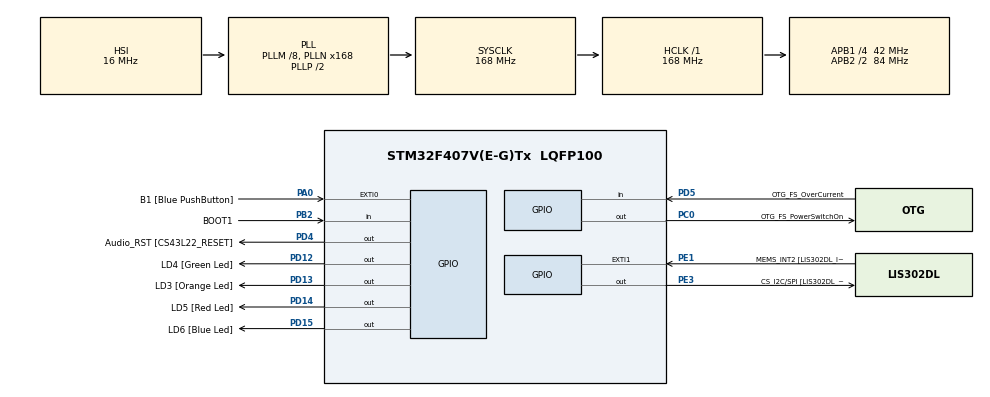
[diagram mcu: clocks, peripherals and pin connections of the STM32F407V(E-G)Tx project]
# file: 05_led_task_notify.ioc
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Mcu.Family=STM32F4
Mcu.Name=STM32F407V(E-G)Tx
Mcu.Package=LQFP100
NVIC.PriorityGroup=NVIC_PRIORITYGROUP_4
NVIC.TIM6_DAC_IRQn=true\:0\:0\:false\:false\:true\:false\:true\:true
NVIC.TimeBase=TIM6_DAC_IRQn
NVIC.TimeBaseIP=TIM6
PA0-WKUP.GPIO_Label=B1 [Blue PushButton]
PA0-WKUP.Signal=GPXTI0
PA10.GPIO_Label=OTG_FS_ID
PA10.GPIO_Mode=GPIO_MODE_AF_PP
PA10.GPIO_PuPd=GPIO_NOPULL
PA10.GPIO_Speed=GPIO_SPEED_FREQ_LOW
PA10.Signal=USB_OTG_FS_ID
PA11.GPIO_Label=OTG_FS_DM
PA11.GPIO_Mode=GPIO_MODE_AF_PP
PA11.GPIO_PuPd=GPIO_NOPULL
PA11.GPIO_Speed=GPIO_SPEED_FREQ_LOW
PA11.Signal=USB_OTG_FS_DM
PA12.GPIO_Label=OTG_FS_DP
PA12.GPIO_Mode=GPIO_MODE_AF_PP
PA12.GPIO_PuPd=GPIO_NOPULL
PA12.GPIO_Speed=GPIO_SPEED_FREQ_LOW
PA12.Signal=USB_OTG_FS_DP
PA13.GPIO_Label=SWDIO
PA13.Signal=SYS_JTMS-SWDIO
PA14.GPIO_Label=SWCLK
PA14.Signal=SYS_JTCK-SWCLK
PA4.GPIO_Label=I2S3_WS [CS43L22_LRCK]
PA4.GPIO_Mode=GPIO_MODE_AF_PP
PA4.GPIO_PuPd=GPIO_NOPULL
PA4.GPIO_Speed=GPIO_SPEED_FREQ_LOW
PA4.Signal=I2S3_WS
PA5.GPIO_Label=SPI1_SCK [LIS302DL_SCL/SPC]
PA5.GPIO_Mode=GPIO_MODE_AF_PP
PA5.GPIO_PuPd=GPIO_NOPULL
PA5.GPIO_Speed=GPIO_SPEED_FREQ_LOW
PA5.Signal=SPI1_SCK
PA6.GPIO_Label=SPI1_MISO [LIS302DL_SDO]
PA6.GPIO_Mode=GPIO_MODE_AF_PP
PA6.GPIO_PuPd=GPIO_NOPULL
PA6.GPIO_Speed=GPIO_SPEED_FREQ_LOW
PA6.Signal=SPI1_MISO
PA7.GPIO_Label=SPI1_MOSI [LIS302DL_SDA/SDI/SDO]
PA7.GPIO_Mode=GPIO_MODE_AF_PP
PA7.GPIO_PuPd=GPIO_NOPULL
PA7.GPIO_Speed=GPIO_SPEED_FREQ_LOW
PA7.Signal=SPI1_MOSI
PA9.GPIO_Label=VBUS_FS
PA9.GPIO_Mode=GPIO_MODE_INPUT
PA9.GPIO_PuPd=GPIO_NOPULL
PA9.Signal=USB_OTG_FS_VBUS
PB10.GPIO_Label=CLK_IN [MP45DT02_CLK]
PB10.GPIO_Mode=GPIO_MODE_AF_PP
PB10.GPIO_PuPd=GPIO_NOPULL
PB10.GPIO_Speed=GPIO_SPEED_FREQ_LOW
PB10.Signal=I2S2_CK
PB2.GPIO_Label=BOOT1
PB2.GPIO_Mode=GPIO_MODE_INPUT
PB2.GPIO_PuPd=GPIO_NOPULL
PB2.Signal=GPIO_Input
PB3.GPIO_Label=SWO
PB3.Signal=SYS_JTDO-SWO
PB6.GPIO_Label=Audio_SCL [CS43L22_SCL]
PB6.GPIO_Mode=GPIO_MODE_AF_OD
PB6.GPIO_PuPd=GPIO_NOPULL
PB6.GPIO_Speed=GPIO_SPEED_FREQ_LOW
PB6.Signal=I2C1_SCL
PB9.GPIO_Label=Audio_SDA [CS43L22_SDA]
PB9.GPIO_Mode=GPIO_MODE_AF_OD
PB9.GPIO_PuPd=GPIO_NOPULL
PB9.GPIO_Speed=GPIO_SPEED_FREQ_LOW
PB9.Signal=I2C1_SDA
PC0.GPIO_Label=OTG_FS_PowerSwitchOn
PC0.GPIO_PuPd=GPIO_NOPULL
PC0.GPIO_Speed=GPIO_SPEED_FREQ_LOW
PC0.PinState=GPIO_PIN_SET
PC0.Signal=GPIO_Output
PC10.GPIO_Label=I2S3_SCK [CS43L22_SCLK]
PC10.GPIO_Mode=GPIO_MODE_AF_PP
PC10.GPIO_PuPd=GPIO_NOPULL
PC10.GPIO_Speed=GPIO_SPEED_FREQ_LOW
PC10.Signal=I2S3_CK
PC12.GPIO_Label=I2S3_SD [CS43L22_SDIN]
PC12.GPIO_Mode=GPIO_MODE_AF_PP
PC12.GPIO_PuPd=GPIO_NOPULL
PC12.GPIO_Speed=GPIO_SPEED_FREQ_LOW
PC12.Signal=I2S3_SD
PC14-OSC32_IN.GPIO_Label=PC14-OSC32_IN
PC14-OSC32_IN.Signal=RCC_OSC32_IN
PC15-OSC32_OUT.GPIO_Label=PC15-OSC32_OUT
PC15-OSC32_OUT.Signal=RCC_OSC32_OUT
PC3.GPIO_Label=PDM_OUT [MP45DT02_DOUT]
PC3.GPIO_Mode=GPIO_MODE_AF_PP
PC3.GPIO_PuPd=GPIO_NOPULL
PC3.GPIO_Speed=GPIO_SPEED_FREQ_LOW
PC3.Signal=I2S2_SD
PC7.GPIO_Label=I2S3_MCK [CS43L22_MCLK]
PC7.GPIO_Mode=GPIO_MODE_AF_PP
PC7.GPIO_PuPd=GPIO_NOPULL
PC7.GPIO_Speed=GPIO_SPEED_FREQ_LOW
PC7.Signal=I2S3_MCK
PD12.GPIO_Label=LD4 [Green Led]
PD12.GPIO_PuPd=GPIO_NOPULL
PD12.GPIO_Speed=GPIO_SPEED_FREQ_LOW
PD12.Signal=GPIO_Output
PD13.GPIO_Label=LD3 [Orange Led]
PD13.GPIO_PuPd=GPIO_NOPULL
PD13.GPIO_Speed=GPIO_SPEED_FREQ_LOW
PD13.Signal=GPIO_Output
PD14.GPIO_Label=LD5 [Red Led]
PD14.GPIO_PuPd=GPIO_NOPULL
PD14.GPIO_Speed=GPIO_SPEED_FREQ_LOW
PD14.Signal=GPIO_Output
PD15.GPIO_Label=LD6 [Blue Led]
PD15.GPIO_PuPd=GPIO_NOPULL
PD15.GPIO_Speed=GPIO_SPEED_FREQ_LOW
PD15.Signal=GPIO_Output
PD4.GPIO_Label=Audio_RST [CS43L22_RESET]
PD4.GPIO_PuPd=GPIO_NOPULL
PD4.GPIO_Speed=GPIO_SPEED_FREQ_LOW
PD4.Signal=GPIO_Output
PD5.GPIO_Label=OTG_FS_OverCurrent
PD5.GPIO_Mode=GPIO_MODE_INPUT
PD5.GPIO_PuPd=GPIO_NOPULL
PD5.Signal=GPIO_Input
PE1.GPIO_Label=MEMS_INT2 [LIS302DL_INT2]
PE1.GPIO_ModeDefaultEXTI=GPIO_MODE_EVT_RISING
PE1.GPIO_PuPd=GPIO_NOPULL
PE1.Signal=GPXTI1
PE3.GPIO_Label=CS_I2C/SPI [LIS302DL_CS_I2C/SPI]
PE3.GPIO_PuPd=GPIO_NOPULL
PE3.GPIO_Speed=GPIO_SPEED_FREQ_LOW
PE3.Signal=GPIO_Output
PH0-OSC_IN.GPIO_Label=PH0-OSC_IN
PH0-OSC_IN.Signal=RCC_OSC_IN
PH1-OSC_OUT.GPIO_Label=PH1-OSC_OUT
PH1-OSC_OUT.Signal=RCC_OSC_OUT
ProjectManager.HeapSize=0x200
ProjectManager.StackSize=0x400
ProjectManager.TargetToolchain=STM32CubeIDE
RCC.48MHZClocksFreq_Value=48000000
RCC.AHBFreq_Value=168000000
RCC.APB1CLKDivider=RCC_HCLK_DIV4
RCC.APB1Freq_Value=42000000
RCC.APB1TimFreq_Value=84000000
RCC.APB2CLKDivider=RCC_HCLK_DIV2
RCC.APB2Freq_Value=84000000
RCC.APB2TimFreq_Value=168000000
RCC.CortexFreq_Value=168000000
RCC.HCLKFreq_Value=168000000
RCC.HSE_VALUE=8000000
RCC.HSI_VALUE=16000000
RCC.LSE_VALUE=32768
RCC.PLLM=8
RCC.PLLN=168
RCC.PLLQ=7
RCC.SYSCLKFreq_VALUE=168000000
RCC.SYSCLKSource=RCC_SYSCLKSOURCE_PLLCLK
RCC.VCOOutputFreq_Value=336000000
VP_SYS_VS_tim6.Mode=TIM6
board=STM32F407G-DISC1

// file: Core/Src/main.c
/* USER CODE BEGIN Header */
/**
  ******************************************************************************
  * @file           : main.c
  * @brief          : Main program body
  ******************************************************************************
  * @attention
  *
  * Copyright (c) 2024 STMicroelectronics.
  * All rights reserved.
  *
  * This software is licensed under terms that can be found in the LICENSE file
  * in the root directory of this software component.
  * If no LICENSE file comes with this software, it is provided AS-IS.
  *
  ******************************************************************************
  */
/* USER CODE END Header */
#include "main.h"

/* USER CODE BEGIN Includes */
#include "FreeRTOS.h"
#include "task.h"
/* USER CODE END Includes */

/* USER CODE BEGIN PD */
#define DWT_CTRL             (*(volatile uint32_t*)0xE0001000)
/* USER CODE END PD */

void SystemClock_Config(void);
static void MX_GPIO_Init(void);
/* USER CODE BEGIN PFP */

static void led_green_handler(void* parameters);
static void led_orange_handler(void* parameters);
static void led_red_handler(void* parameters);
static void button_handler(void* parameters);

extern void SEGGER_UART_init(uint32_t);

// needs task handles to delete a task
TaskHandle_t ledg_task_handle;
TaskHandle_t ledo_task_handle;
TaskHandle_t ledr_task_handle;
TaskHandle_t button_task_handle;

TaskHandle_t volatile next_task_handle = NULL;
/* USER CODE END PFP */

int main(void)
{
  /* USER CODE BEGIN 1 */
  BaseType_t status;
  /* USER CODE END 1 */

  /* MCU Configuration--------------------------------------------------------*/

  /* Reset of all peripherals, Initializes the Flash interface and the Systick. */
  HAL_Init();

  /* Configure the system clock */
  SystemClock_Config();

  /* Initialize all configured peripherals */
  MX_GPIO_Init();
  /* USER CODE BEGIN 2 */

  SEGGER_UART_init(250000);

  // Enable the CYCCNT counter register - For SystemView timestamp
  // Cortex-M4 Technical Reference Manual page: 91
  DWT_CTRL |= (1 << 0);

  SEGGER_SYSVIEW_Conf();

  status = xTaskCreate(led_green_handler, "LED green task", 200, NULL, 3, &ledg_task_handle);
  configASSERT(status==pdPASS);

  next_task_handle = ledg_task_handle;

  status = xTaskCreate(led_orange_handler, "LED orange task", 200, NULL, 2, &ledo_task_handle);
  configASSERT(status==pdPASS);

  status = xTaskCreate(led_red_handler, "LED red task", 200, NULL, 1, &ledr_task_handle);
  configASSERT(status==pdPASS);

  status = xTaskCreate(button_handler, "Button task", 200, NULL, 4, &button_task_handle);
  configASSERT(status==pdPASS);

  vTaskStartScheduler();

  /* USER CODE END 2 */

  /* Infinite loop */
  while (1)
  {

  }
}

void SystemClock_Config(void)
{
  RCC_OscInitTypeDef RCC_OscInitStruct = {0};
  RCC_ClkInitTypeDef RCC_ClkInitStruct = {0};

  /** Configure the main internal regulator output voltage
  */
  __HAL_RCC_PWR_CLK_ENABLE();
  __HAL_PWR_VOLTAGESCALING_CONFIG(PWR_REGULATOR_VOLTAGE_SCALE1);

  /** Initializes the RCC Oscillators according to the specified parameters
  * in the RCC_OscInitTypeDef structure.
  */
  RCC_OscInitStruct.OscillatorType = RCC_OSCILLATORTYPE_HSI;
  RCC_OscInitStruct.HSIState = RCC_HSI_ON;
  RCC_OscInitStruct.HSICalibrationValue = RCC_HSICALIBRATION_DEFAULT;
  RCC_OscInitStruct.PLL.PLLState = RCC_PLL_ON;
  RCC_OscInitStruct.PLL.PLLSource = RCC_PLLSOURCE_HSI;
  RCC_OscInitStruct.PLL.PLLM = 8;
  RCC_OscInitStruct.PLL.PLLN = 168;
  RCC_OscInitStruct.PLL.PLLP = RCC_PLLP_DIV2;
  RCC_OscInitStruct.PLL.PLLQ = 7;
  if (HAL_RCC_OscConfig(&RCC_OscInitStruct) != HAL_OK)
  {
    Error_Handler();
  }

  /** Initializes the CPU, AHB and APB buses clocks
  */
  RCC_ClkInitStruct.ClockType = RCC_CLOCKTYPE_HCLK|RCC_CLOCKTYPE_SYSCLK
                              |RCC_CLOCKTYPE_PCLK1|RCC_CLOCKTYPE_PCLK2;
  RCC_ClkInitStruct.SYSCLKSource = RCC_SYSCLKSOURCE_PLLCLK;
  RCC_ClkInitStruct.AHBCLKDivider = RCC_SYSCLK_DIV1;
  RCC_ClkInitStruct.APB1CLKDivider = RCC_HCLK_DIV4;
  RCC_ClkInitStruct.APB2CLKDivider = RCC_HCLK_DIV2;

  if (HAL_RCC_ClockConfig(&RCC_ClkInitStruct, FLASH_LATENCY_5) != HAL_OK)
  {
    Error_Handler();
  }
}

static void MX_GPIO_Init(void)
{
  GPIO_InitTypeDef GPIO_InitStruct = {0};

  /* GPIO Ports Clock Enable */
  __HAL_RCC_GPIOE_CLK_ENABLE();
  __HAL_RCC_GPIOC_CLK_ENABLE();
  __HAL_RCC_GPIOH_CLK_ENABLE();
  __HAL_RCC_GPIOA_CLK_ENABLE();
  __HAL_RCC_GPIOB_CLK_ENABLE();
  __HAL_RCC_GPIOD_CLK_ENABLE();

  /*Configure GPIO pin Output Level */
  HAL_GPIO_WritePin(CS_I2C_SPI_GPIO_Port, CS_I2C_SPI_Pin, GPIO_PIN_RESET);

  /*Configure GPIO pin Output Level */
  HAL_GPIO_WritePin(OTG_FS_PowerSwitchOn_GPIO_Port, OTG_FS_PowerSwitchOn_Pin, GPIO_PIN_SET);

  /*Configure GPIO pin Output Level */
  HAL_GPIO_WritePin(GPIOD, LD4_Pin|LD3_Pin|LD5_Pin|LD6_Pin
                          |Audio_RST_Pin, GPIO_PIN_RESET);

  /*Configure GPIO pin : CS_I2C_SPI_Pin */
  GPIO_InitStruct.Pin = CS_I2C_SPI_Pin;
  GPIO_InitStruct.Mode = GPIO_MODE_OUTPUT_PP;
  GPIO_InitStruct.Pull = GPIO_NOPULL;
  GPIO_InitStruct.Speed = GPIO_SPEED_FREQ_LOW;
  HAL_GPIO_Init(CS_I2C_SPI_GPIO_Port, &GPIO_InitStruct);

  /*Configure GPIO pin : OTG_FS_PowerSwitchOn_Pin */
  GPIO_InitStruct.Pin = OTG_FS_PowerSwitchOn_Pin;
  GPIO_InitStruct.Mode = GPIO_MODE_OUTPUT_PP;
  GPIO_InitStruct.Pull = GPIO_NOPULL;
  GPIO_InitStruct.Speed = GPIO_SPEED_FREQ_LOW;
  HAL_GPIO_Init(OTG_FS_PowerSwitchOn_GPIO_Port, &GPIO_InitStruct);

  /*Configure GPIO pin : PDM_OUT_Pin */
  GPIO_InitStruct.Pin = PDM_OUT_Pin;
  GPIO_InitStruct.Mode = GPIO_MODE_AF_PP;
  GPIO_InitStruct.Pull = GPIO_NOPULL;
  GPIO_InitStruct.Speed = GPIO_SPEED_FREQ_LOW;
  GPIO_InitStruct.Alternate = GPIO_AF5_SPI2;
  HAL_GPIO_Init(PDM_OUT_GPIO_Port, &GPIO_InitStruct);

  /*Configure GPIO pin : B1_Pin */
  GPIO_InitStruct.Pin = B1_Pin;
  GPIO_InitStruct.Mode = GPIO_MODE_IT_FALLING;
  GPIO_InitStruct.Pull = GPIO_NOPULL;
  HAL_GPIO_Init(B1_GPIO_Port, &GPIO_InitStruct);

  /*Configure GPIO pin : I2S3_WS_Pin */
  GPIO_InitStruct.Pin = I2S3_WS_Pin;
  GPIO_InitStruct.Mode = GPIO_MODE_AF_PP;
  GPIO_InitStruct.Pull = GPIO_NOPULL;
  GPIO_InitStruct.Speed = GPIO_SPEED_FREQ_LOW;
  GPIO_InitStruct.Alternate = GPIO_AF6_SPI3;
  HAL_GPIO_Init(I2S3_WS_GPIO_Port, &GPIO_InitStruct);

  /*Configure GPIO pins : SPI1_SCK_Pin SPI1_MISO_Pin SPI1_MOSI_Pin */
  GPIO_InitStruct.Pin = SPI1_SCK_Pin|SPI1_MISO_Pin|SPI1_MOSI_Pin;
  GPIO_InitStruct.Mode = GPIO_MODE_AF_PP;
  GPIO_InitStruct.Pull = GPIO_NOPULL;
  GPIO_InitStruct.Speed = GPIO_SPEED_FREQ_LOW;
  GPIO_InitStruct.Alternate = GPIO_AF5_SPI1;
  HAL_GPIO_Init(GPIOA, &GPIO_InitStruct);

  /*Configure GPIO pin : BOOT1_Pin */
  GPIO_InitStruct.Pin = BOOT1_Pin;
  GPIO_InitStruct.Mode = GPIO_MODE_INPUT;
  GPIO_InitStruct.Pull = GPIO_NOPULL;
  HAL_GPIO_Init(BOOT1_GPIO_Port, &GPIO_InitStruct);

  /*Configure GPIO pin : CLK_IN_Pin */
  GPIO_InitStruct.Pin = CLK_IN_Pin;
  GPIO_InitStruct.Mode = GPIO_MODE_AF_PP;
  GPIO_InitStruct.Pull = GPIO_NOPULL;
  GPIO_InitStruct.Speed = GPIO_SPEED_FREQ_LOW;
  GPIO_InitStruct.Alternate = GPIO_AF5_SPI2;
  HAL_GPIO_Init(CLK_IN_GPIO_Port, &GPIO_InitStruct);

  /*Configure GPIO pins : LD4_Pin LD3_Pin LD5_Pin LD6_Pin
                           Audio_RST_Pin */
  GPIO_InitStruct.Pin = LD4_Pin|LD3_Pin|LD5_Pin|LD6_Pin
                          |Audio_RST_Pin;
  GPIO_InitStruct.Mode = GPIO_MODE_OUTPUT_PP;
  GPIO_InitStruct.Pull = GPIO_NOPULL;
  GPIO_InitStruct.Speed = GPIO_SPEED_FREQ_LOW;
  HAL_GPIO_Init(GPIOD, &GPIO_InitStruct);

  /*Configure GPIO pins : I2S3_MCK_Pin I2S3_SCK_Pin I2S3_SD_Pin */
  GPIO_InitStruct.Pin = I2S3_MCK_Pin|I2S3_SCK_Pin|I2S3_SD_Pin;
  GPIO_InitStruct.Mode = GPIO_MODE_AF_PP;
  GPIO_InitStruct.Pull = GPIO_NOPULL;
  GPIO_InitStruct.Speed = GPIO_SPEED_FREQ_LOW;
  GPIO_InitStruct.Alternate = GPIO_AF6_SPI3;
  HAL_GPIO_Init(GPIOC, &GPIO_InitStruct);

  /*Configure GPIO pin : VBUS_FS_Pin */
  GPIO_InitStruct.Pin = VBUS_FS_Pin;
  GPIO_InitStruct.Mode = GPIO_MODE_INPUT;
  GPIO_InitStruct.Pull = GPIO_NOPULL;
  HAL_GPIO_Init(VBUS_FS_GPIO_Port, &GPIO_InitStruct);

  /*Configure GPIO pins : OTG_FS_ID_Pin OTG_FS_DM_Pin OTG_FS_DP_Pin */
  GPIO_InitStruct.Pin = OTG_FS_ID_Pin|OTG_FS_DM_Pin|OTG_FS_DP_Pin;
  GPIO_InitStruct.Mode = GPIO_MODE_AF_PP;
  GPIO_InitStruct.Pull = GPIO_NOPULL;
  GPIO_InitStruct.Speed = GPIO_SPEED_FREQ_LOW;
  GPIO_InitStruct.Alternate = GPIO_AF10_OTG_FS;
  HAL_GPIO_Init(GPIOA, &GPIO_InitStruct);

  /*Configure GPIO pin : OTG_FS_OverCurrent_Pin */
  GPIO_InitStruct.Pin = OTG_FS_OverCurrent_Pin;
  GPIO_InitStruct.Mode = GPIO_MODE_INPUT;
  GPIO_InitStruct.Pull = GPIO_NOPULL;
  HAL_GPIO_Init(OTG_FS_OverCurrent_GPIO_Port, &GPIO_InitStruct);

  /*Configure GPIO pins : Audio_SCL_Pin Audio_SDA_Pin */
  GPIO_InitStruct.Pin = Audio_SCL_Pin|Audio_SDA_Pin;
  GPIO_InitStruct.Mode = GPIO_MODE_AF_OD;
  GPIO_InitStruct.Pull = GPIO_NOPULL;
  GPIO_InitStruct.Speed = GPIO_SPEED_FREQ_LOW;
  GPIO_InitStruct.Alternate = GPIO_AF4_I2C1;
  HAL_GPIO_Init(GPIOB, &GPIO_InitStruct);

  /*Configure GPIO pin : MEMS_INT2_Pin */
  GPIO_InitStruct.Pin = MEMS_INT2_Pin;
  GPIO_InitStruct.Mode = GPIO_MODE_EVT_RISING;
  GPIO_InitStruct.Pull = GPIO_NOPULL;
  HAL_GPIO_Init(MEMS_INT2_GPIO_Port, &GPIO_InitStruct);

}

/* USER CODE BEGIN 4 */
static void led_green_handler(void* parameters)
{
  BaseType_t status;
  while (1)
  {
	SEGGER_SYSVIEW_PrintfTarget("Toggling green LED");
	HAL_GPIO_TogglePin(GPIOD, LED_GREEN_PIN);
	status = xTaskNotifyWait(0, 0, NULL, pdMS_TO_TICKS(1000)); // 1 sec

	if (status == pdTRUE)
	{
	  // Suspends the scheduler to change `next_task_handle` global variable
	  // consult README of this project
	  vTaskSuspendAll();
	  next_task_handle = ledo_task_handle;
	  xTaskResumeAll();

	  HAL_GPIO_WritePin(GPIOD, LED_GREEN_PIN, GPIO_PIN_SET);
	  SEGGER_SYSVIEW_PrintfTarget("Delete green LED task");
	  vTaskDelete(NULL);
	}
  }
}

static void led_orange_handler(void* parameters)
{
  BaseType_t status;
  while (1)
  {
	SEGGER_SYSVIEW_PrintfTarget("Toggling orange LED");
	HAL_GPIO_TogglePin(GPIOD, LED_ORANGE_PIN);
	status = xTaskNotifyWait(0, 0, NULL, pdMS_TO_TICKS(800)); // 800ms

	if (status == pdTRUE)
	{
	  // Suspends the scheduler to change `next_task_handle` global variable
	  // consult README of this project
	  vTaskSuspendAll();
	  next_task_handle = ledr_task_handle;
	  xTaskResumeAll();

	  HAL_GPIO_WritePin(GPIOD, LED_ORANGE_PIN, GPIO_PIN_SET);
	  SEGGER_SYSVIEW_PrintfTarget("Delete orange LED task");
	  vTaskDelete(NULL);
	}
  }
}

static void led_red_handler(void* parameters)
{
  BaseType_t status;
  while (1)
  {
	SEGGER_SYSVIEW_PrintfTarget("Toggling red LED");
	HAL_GPIO_TogglePin(GPIOD, LED_RED_PIN);
	status = xTaskNotifyWait(0, 0, NULL, pdMS_TO_TICKS(400)); // 400ms

	if (status == pdTRUE)
	{
	  // Suspends the scheduler to change `next_task_handle` global variable
	  // consult README of this project
	  vTaskSuspendAll();
	  next_task_handle = NULL;
	  xTaskResumeAll();

	  HAL_GPIO_WritePin(GPIOD, LED_RED_PIN, GPIO_PIN_SET);
	  SEGGER_SYSVIEW_PrintfTarget("Delete red LED task");
	  vTaskDelete(button_task_handle);
	  vTaskDelete(NULL);
	}
  }
}

static void button_handler(void* parameters)
{
  uint8_t btn_read = 0;
  uint8_t prev_read = 0;
  while (1)
  {
	btn_read = HAL_GPIO_ReadPin(GPIOA, GPIO_PIN_0);
	if (btn_read)
	{
	  if (!prev_read)
	  {
		xTaskNotify(next_task_handle, 0, eNoAction);
	  }
	}
	prev_read = btn_read;
    vTaskDelay(pdMS_TO_TICKS(10));
  }
}

/* USER CODE END 4 */

void HAL_TIM_PeriodElapsedCallback(TIM_HandleTypeDef *htim)
{
  if (htim->Instance == TIM6) {
    HAL_IncTick();
  }
}

void Error_Handler(void)
{
  __disable_irq();
  while (1)
  {
  }
}
